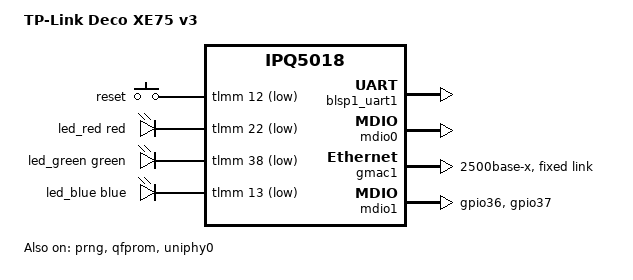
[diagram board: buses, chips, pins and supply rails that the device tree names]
// SPDX-License-Identifier: GPL-2.0-or-later OR MIT

/dts-v1/;

#include "ipq5018.dtsi"
#include "ipq5018-ess.dtsi"

#include <dt-bindings/gpio/gpio.h>
#include <dt-bindings/input/input.h>
#include <dt-bindings/leds/common.h>

/ {
	model = "TP-Link Deco XE75 v3";
	compatible = "tplink,deco-xe75-v3", "qcom,ipq5018";

	aliases {
		serial0 = &blsp1_uart1;
		led-boot = &led_blue;
		led-failsafe = &led_red;
		led-running = &led_green;
		led-upgrade = &led_red;
	};

	chosen {
		stdout-path = "serial0:115200n8";
		bootargs-append = " coherent_pool=2M";
	};

	keys {
		compatible = "gpio-keys";
		pinctrl-0 = <&button_pins>;
		pinctrl-names = "default";

		button-reset {
			label = "reset";
			gpios = <&tlmm 12 GPIO_ACTIVE_LOW>;
			linux,code = <KEY_RESTART>;
		};
	};

	leds {
		compatible = "gpio-leds";
		pinctrl-0 = <&led_pins>;
		pinctrl-names = "default";

		led_red: led-red {
			function = LED_FUNCTION_STATUS;
			color = <LED_COLOR_ID_RED>;
			gpios = <&tlmm 22 GPIO_ACTIVE_LOW>;
		};

		led_green: led-green {
			color = <LED_COLOR_ID_GREEN>;
			function = LED_FUNCTION_POWER;
			gpios = <&tlmm 38 GPIO_ACTIVE_LOW>;
			default-state = "on";
		};

		led_blue: led-blue {
			function = LED_FUNCTION_STATUS;
			color = <LED_COLOR_ID_BLUE>;
			gpios = <&tlmm 13 GPIO_ACTIVE_LOW>;
		};
	};
};

&sleep_clk {
	clock-frequency = <32000>;
};

&xo_board_clk {
	clock-div = <4>;
	clock-mult = <1>;
};

&blsp1_uart1 {
	status = "okay";
};

&prng {
	status = "okay";
};

&qfprom {
	status = "okay";
};

/* No flash access until an installation and recovery method is supported. */
&qpic_bam {
	status = "disabled";
};

&qpic_nand {
	status = "disabled";
};

/*
 * mdio0 must remain enabled even though gmac0 and the internal GE PHY are
 * unused. On IPQ5018 its reset path also gates the MDC/MDIO path used by mdio1.
 */
&mdio0 {
	status = "okay";
};

&uniphy0 {
	status = "okay";

	assigned-clocks = <&uniphy0 UNIPHY_CLK_REF>;
	assigned-clock-rates = <UNIPHY_REFCLK_50MHZ>;
};

&gmac1 {
	/*
	 * The RTL8367D has no matching DSA driver yet. Do not reset it:
	 * RAM-boot Ethernet experiments depend on U-Boot initialization.
	 * This fixed link describes only the SoC-to-switch connection.
	 */
	status = "okay";
	label = "lan";
	phy-mode = "2500base-x";

	fixed-link {
		speed = <2500>;
		full-duplex;
	};
};

&mdio1 {
	status = "okay";
	pinctrl-0 = <&mdio1_pins>;
	pinctrl-names = "default";
};

&tlmm {
	button_pins: button-state {
		pins = "gpio12";
		function = "gpio";
		drive-strength = <8>;
		bias-pull-up;
	};

	led_pins: led-state {
		pins = "gpio13", "gpio22", "gpio38";
		function = "gpio";
		drive-strength = <2>;
		bias-disable;
	};

	mdio1_pins: mdio1-state {
		mdc-pins {
			pins = "gpio36";
			function = "mdc";
			drive-strength = <8>;
			bias-pull-up;
		};

		mdio-pins {
			pins = "gpio37";
			function = "mdio";
			drive-strength = <8>;
			bias-pull-up;
		};
	};
};
